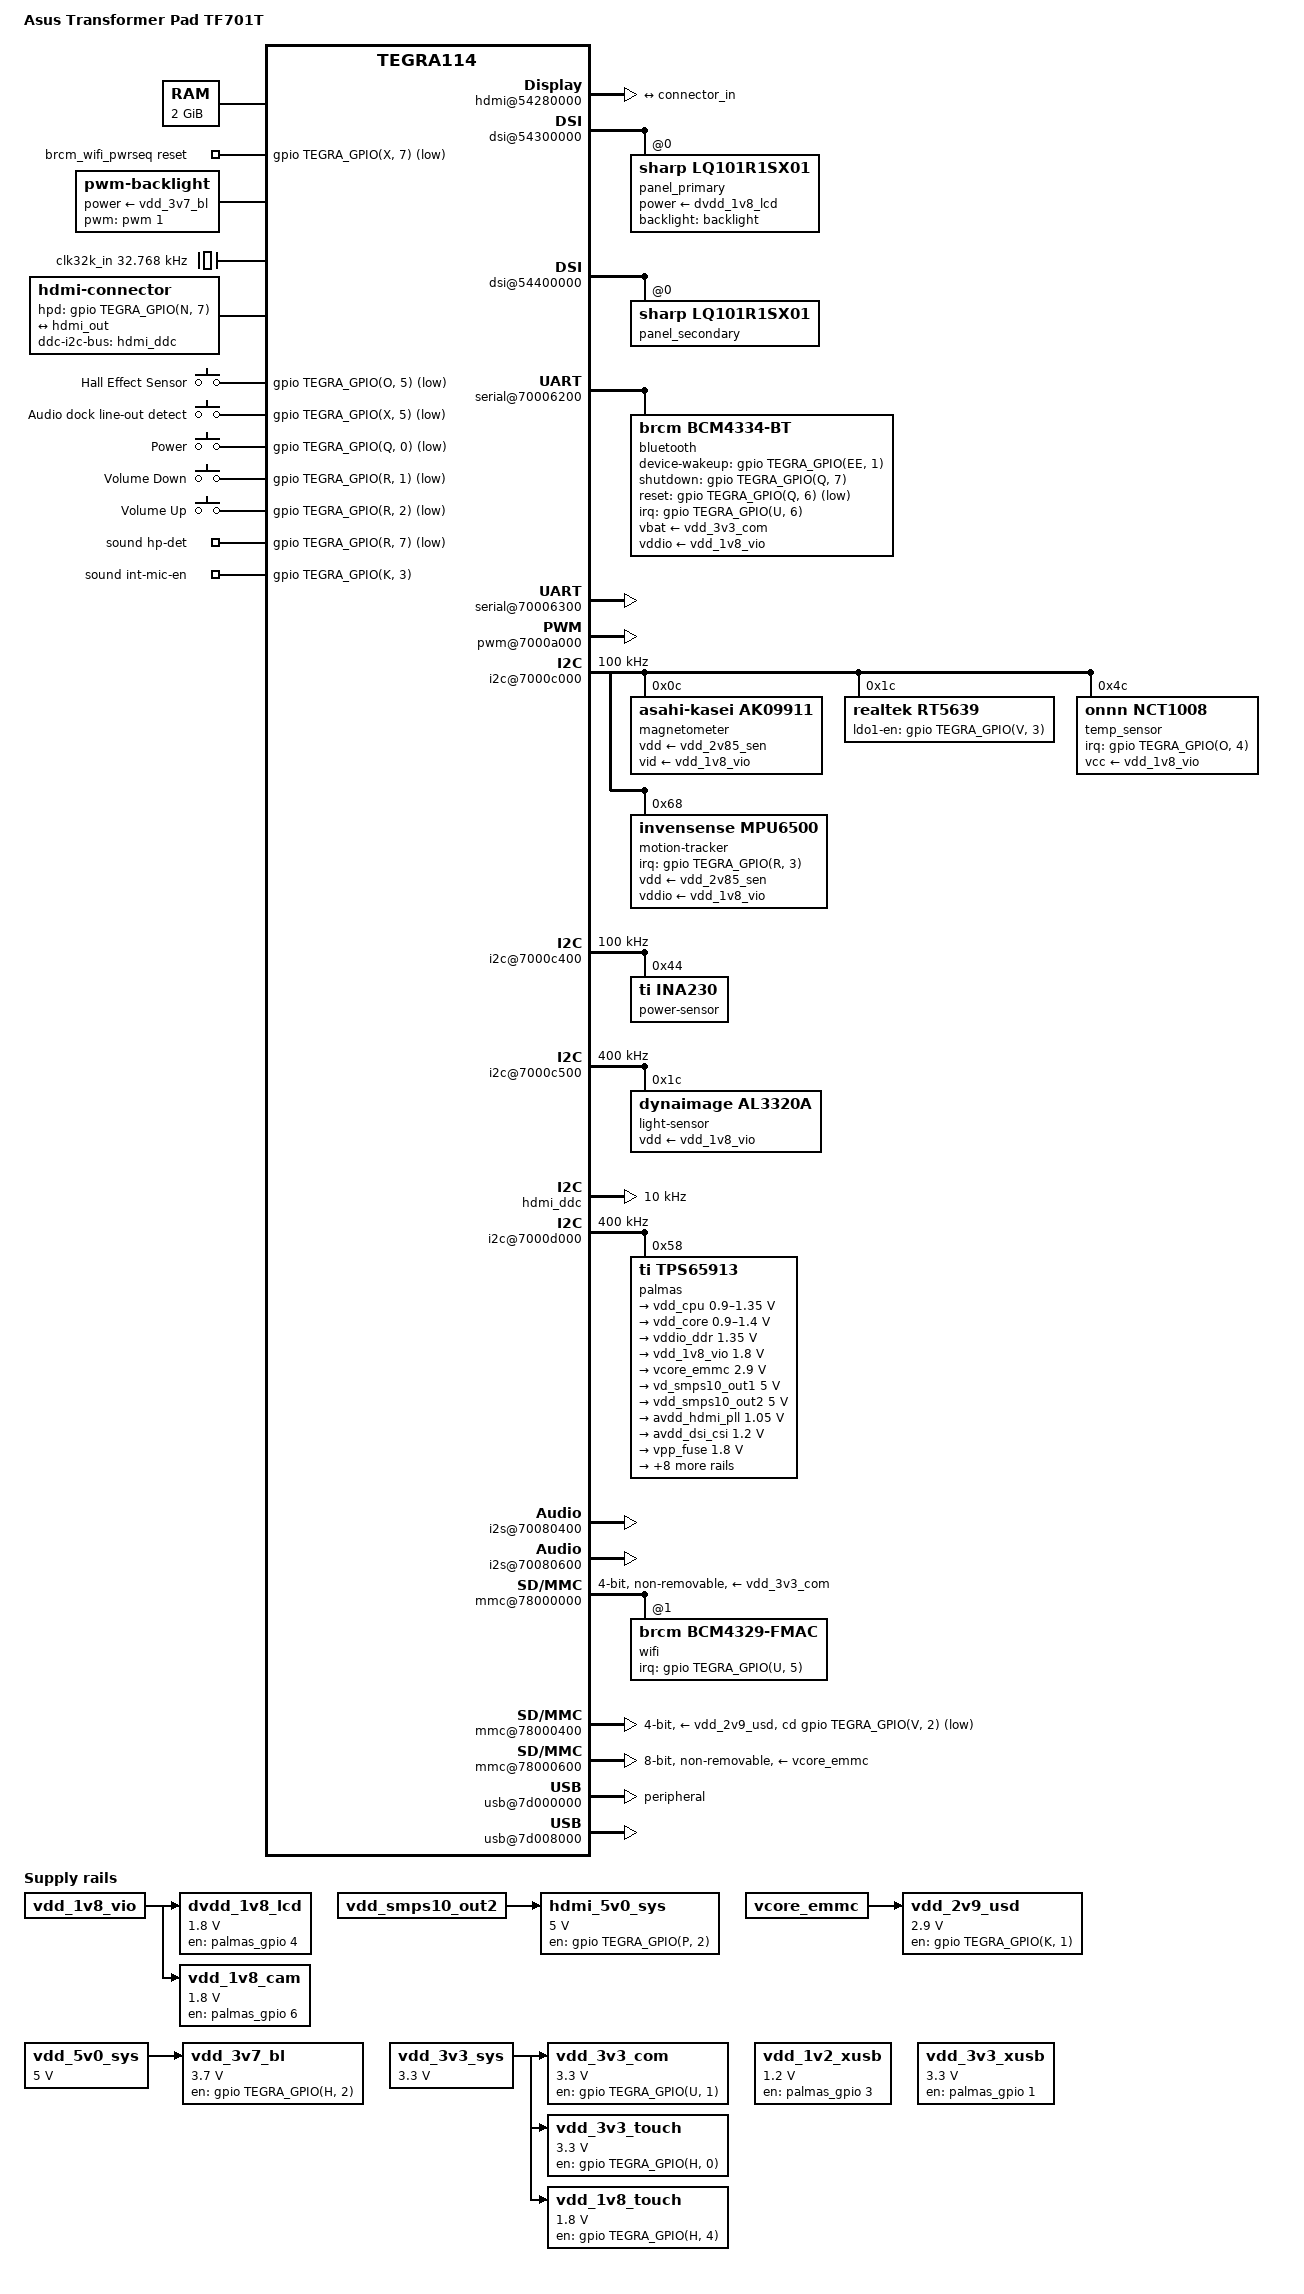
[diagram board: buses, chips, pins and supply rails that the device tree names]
// SPDX-License-Identifier: GPL-2.0

/dts-v1/;

#include <dt-bindings/input/gpio-keys.h>
#include <dt-bindings/input/input.h>

#include "tegra114.dtsi"

/ {
	model = "Asus Transformer Pad TF701T";
	compatible = "asus,tf701t", "nvidia,tegra114";
	chassis-type = "convertible";

	aliases {
		mmc0 = "/mmc@78000600"; /* eMMC */
		mmc1 = "/mmc@78000400"; /* uSD slot */
		mmc2 = "/mmc@78000000"; /* WiFi */

		rtc0 = &palmas;
		rtc1 = "/rtc@7000e000";

		serial0 = &uartd; /* Console */
		serial1 = &uartc; /* Bluetooth */
		serial2 = &uartb; /* GPS */
	};

	firmware {
		trusted-foundations {
			compatible = "tlm,trusted-foundations";
			tlm,version-major = <2>;
			tlm,version-minor = <8>;
		};
	};

	memory@80000000 {
		reg = <0x80000000 0x80000000>;
	};

	reserved-memory {
		#address-cells = <1>;
		#size-cells = <1>;
		ranges;

		linux,cma@80000000 {
			compatible = "shared-dma-pool";
			alloc-ranges = <0x80000000 0x30000000>;
			size = <0x10000000>;
			linux,cma-default;
			reusable;
		};

		trustzone@bfe00000 {
			reg = <0xbfe00000 0x200000>;
			no-map;
		};
	};

	host1x@50000000 {
		hdmi@54280000 {
			status = "okay";

			hdmi-supply = <&hdmi_5v0_sys>;
			pll-supply = <&avdd_hdmi_pll>;
			vdd-supply = <&avdd_hdmi>;

			port {
				hdmi_out: endpoint {
					remote-endpoint = <&connector_in>;
				};
			};
		};

		dsi@54300000 {
			status = "okay";

			avdd-dsi-csi-supply = <&avdd_dsi_csi>;

			nvidia,ganged-mode = <&dsib>;

			panel_primary: panel@0 {
				compatible = "sharp,lq101r1sx01";
				reg = <0>;

				link2 = <&panel_secondary>;

				power-supply = <&dvdd_1v8_lcd>;
				backlight = <&backlight>;
			};
		};

		dsi@54400000 {
			status = "okay";

			avdd-dsi-csi-supply = <&avdd_dsi_csi>;

			panel_secondary: panel@0 {
				compatible = "sharp,lq101r1sx01";
				reg = <0>;
			};
		};
	};

	vde@6001a000 {
		assigned-clocks = <&tegra_car TEGRA114_CLK_VDE>;
		assigned-clock-parents = <&tegra_car TEGRA114_CLK_PLL_P>;
		assigned-clock-rates = <408000000>;
	};

	pinmux@70000868 {
		pinctrl-names = "default";
		pinctrl-0 = <&state_default>;

		state_default: pinmux {
			/* WLAN SDIO pinmux */
			sdmmc1-clk {
				nvidia,pins = "sdmmc1_clk_pz0";
				nvidia,function = "sdmmc1";
				nvidia,pull = <TEGRA_PIN_PULL_NONE>;
				nvidia,tristate = <TEGRA_PIN_DISABLE>;
				nvidia,enable-input = <TEGRA_PIN_ENABLE>;
			};

			sdmmc1-cmd {
				nvidia,pins = "sdmmc1_cmd_pz1",
					      "sdmmc1_dat0_py7",
					      "sdmmc1_dat1_py6",
					      "sdmmc1_dat2_py5",
					      "sdmmc1_dat3_py4";
				nvidia,function = "sdmmc1";
				nvidia,pull = <TEGRA_PIN_PULL_UP>;
				nvidia,tristate = <TEGRA_PIN_DISABLE>;
				nvidia,enable-input = <TEGRA_PIN_ENABLE>;
			};

			wlan-power {
				nvidia,pins = "clk2_req_pcc5";
				nvidia,function = "rsvd2";
				nvidia,pull = <TEGRA_PIN_PULL_NONE>;
				nvidia,tristate = <TEGRA_PIN_DISABLE>;
				nvidia,enable-input = <TEGRA_PIN_DISABLE>;
			};

			wlan-reset {
				nvidia,pins = "gpio_x7_aud_px7";
				nvidia,function = "rsvd1";
				nvidia,pull = <TEGRA_PIN_PULL_NONE>;
				nvidia,tristate = <TEGRA_PIN_DISABLE>;
				nvidia,enable-input = <TEGRA_PIN_DISABLE>;
			};

			wlan-host-wake {
				nvidia,pins = "pu5";
				nvidia,function = "pwm2";
				nvidia,pull = <TEGRA_PIN_PULL_NONE>;
				nvidia,tristate = <TEGRA_PIN_DISABLE>;
				nvidia,enable-input = <TEGRA_PIN_ENABLE>;
			};

			wlan-3v3-com {
				nvidia,pins = "pu1";
				nvidia,function = "rsvd1";
				nvidia,pull = <TEGRA_PIN_PULL_NONE>;
				nvidia,tristate = <TEGRA_PIN_DISABLE>;
				nvidia,enable-input = <TEGRA_PIN_DISABLE>;
			};

			/* UART-A pinmux */
			uarta-cts {
				nvidia,pins = "kb_row10_ps2";
				nvidia,function = "uarta";
				nvidia,pull = <TEGRA_PIN_PULL_DOWN>;
				nvidia,tristate = <TEGRA_PIN_DISABLE>;
				nvidia,enable-input = <TEGRA_PIN_ENABLE>;
			};

			uarta-rts {
				nvidia,pins = "kb_row9_ps1";
				nvidia,function = "uarta";
				nvidia,pull = <TEGRA_PIN_PULL_NONE>;
				nvidia,tristate = <TEGRA_PIN_DISABLE>;
				nvidia,enable-input = <TEGRA_PIN_DISABLE>;
			};

			/* GNSS UART-B pinmux */
			uartb-cts {
				nvidia,pins = "uart2_cts_n_pj5";
				nvidia,function = "uartb";
				nvidia,pull = <TEGRA_PIN_PULL_UP>;
				nvidia,tristate = <TEGRA_PIN_DISABLE>;
				nvidia,enable-input = <TEGRA_PIN_ENABLE>;
			};

			uartb-rts {
				nvidia,pins = "uart2_rts_n_pj6";
				nvidia,function = "uartb";
				nvidia,pull = <TEGRA_PIN_PULL_NONE>;
				nvidia,tristate = <TEGRA_PIN_DISABLE>;
				nvidia,enable-input = <TEGRA_PIN_DISABLE>;
			};

			uartb-rxd {
				nvidia,pins = "uart2_rxd_pc3";
				nvidia,function = "irda";
				nvidia,pull = <TEGRA_PIN_PULL_UP>;
				nvidia,tristate = <TEGRA_PIN_DISABLE>;
				nvidia,enable-input = <TEGRA_PIN_ENABLE>;
			};

			uartb-txd {
				nvidia,pins = "uart2_txd_pc2";
				nvidia,function = "irda";
				nvidia,pull = <TEGRA_PIN_PULL_NONE>;
				nvidia,tristate = <TEGRA_PIN_DISABLE>;
				nvidia,enable-input = <TEGRA_PIN_DISABLE>;
			};

			/* Bluetooth UART-C pinmux */
			uartc-cts-rxd {
				nvidia,pins = "uart3_cts_n_pa1",
					      "uart3_rxd_pw7";
				nvidia,function = "uartc";
				nvidia,pull = <TEGRA_PIN_PULL_UP>;
				nvidia,tristate = <TEGRA_PIN_DISABLE>;
				nvidia,enable-input = <TEGRA_PIN_ENABLE>;
			};

			uartc-rts-txd {
				nvidia,pins = "uart3_rts_n_pc0",
					      "uart3_txd_pw6";
				nvidia,function = "uartc";
				nvidia,pull = <TEGRA_PIN_PULL_NONE>;
				nvidia,tristate = <TEGRA_PIN_DISABLE>;
				nvidia,enable-input = <TEGRA_PIN_DISABLE>;
			};

			bt-shutdown {
				nvidia,pins = "kb_col6_pq6",
					      "kb_col7_pq7";
				nvidia,function = "rsvd2";
				nvidia,pull = <TEGRA_PIN_PULL_NONE>;
				nvidia,tristate = <TEGRA_PIN_DISABLE>;
				nvidia,enable-input = <TEGRA_PIN_DISABLE>;
			};

			bt-dev-wake {
				nvidia,pins = "clk3_req_pee1";
				nvidia,function = "rsvd2";
				nvidia,pull = <TEGRA_PIN_PULL_NONE>;
				nvidia,tristate = <TEGRA_PIN_DISABLE>;
				nvidia,enable-input = <TEGRA_PIN_DISABLE>;
			};

			bt-host-wake {
				nvidia,pins = "pu6";
				nvidia,function = "pwm3";
				nvidia,pull = <TEGRA_PIN_PULL_NONE>;
				nvidia,tristate = <TEGRA_PIN_DISABLE>;
				nvidia,enable-input = <TEGRA_PIN_ENABLE>;
			};

			bt-pcm-dap4-out {
				nvidia,pins = "dap4_fs_pp4",
					      "dap4_dout_pp6",
					      "dap4_sclk_pp7";
				nvidia,function = "i2s3";
				nvidia,pull = <TEGRA_PIN_PULL_NONE>;
				nvidia,tristate = <TEGRA_PIN_DISABLE>;
				nvidia,enable-input = <TEGRA_PIN_DISABLE>;
			};

			bt-pcm-dap4-in {
				nvidia,pins = "dap4_din_pp5";
				nvidia,function = "i2s3";
				nvidia,pull = <TEGRA_PIN_PULL_NONE>;
				nvidia,tristate = <TEGRA_PIN_DISABLE>;
				nvidia,enable-input = <TEGRA_PIN_ENABLE>;
			};

			/* UART-D pinmux */
			uartd-cts {
				nvidia,pins = "gmi_a17_pb0";
				nvidia,function = "uartd";
				nvidia,pull = <TEGRA_PIN_PULL_NONE>;
				nvidia,tristate = <TEGRA_PIN_DISABLE>;
				nvidia,enable-input = <TEGRA_PIN_ENABLE>;
			};

			uartd-rts {
				nvidia,pins = "gmi_a16_pj7",
					      "gmi_a19_pk7";
				nvidia,function = "uartd";
				nvidia,pull = <TEGRA_PIN_PULL_NONE>;
				nvidia,tristate = <TEGRA_PIN_DISABLE>;
				nvidia,enable-input = <TEGRA_PIN_DISABLE>;
			};

			/* MicroSD pinmux */
			sdmmc3-clk {
				nvidia,pins = "sdmmc3_clk_pa6";
				nvidia,function = "sdmmc3";
				nvidia,pull = <TEGRA_PIN_PULL_NONE>;
				nvidia,tristate = <TEGRA_PIN_DISABLE>;
				nvidia,enable-input = <TEGRA_PIN_ENABLE>;
			};

			sdmmc3-data {
				nvidia,pins = "sdmmc3_cmd_pa7",
					      "sdmmc3_dat0_pb7",
					      "sdmmc3_dat1_pb6",
					      "sdmmc3_dat2_pb5",
					      "sdmmc3_dat3_pb4",
					      "kb_col4_pq4",
					      "sdmmc3_cd_n_pv2",
					      "sdmmc3_clk_lb_out_pee4",
					      "sdmmc3_clk_lb_in_pee5";
				nvidia,function = "sdmmc3";
				nvidia,pull = <TEGRA_PIN_PULL_UP>;
				nvidia,tristate = <TEGRA_PIN_DISABLE>;
				nvidia,enable-input = <TEGRA_PIN_ENABLE>;
			};

			microsd-pwr {
				nvidia,pins = "gmi_clk_pk1";
				nvidia,function = "gmi";
				nvidia,pull = <TEGRA_PIN_PULL_NONE>;
				nvidia,tristate = <TEGRA_PIN_DISABLE>;
				nvidia,enable-input = <TEGRA_PIN_DISABLE>;
			};

			/* EMMC pinmux */
			sdmmc4-clk-cmd {
				nvidia,pins = "sdmmc4_clk_pcc4";
				nvidia,function = "sdmmc4";
				nvidia,pull = <TEGRA_PIN_PULL_NONE>;
				nvidia,tristate = <TEGRA_PIN_DISABLE>;
				nvidia,enable-input = <TEGRA_PIN_ENABLE>;
			};

			sdmmc4-data {
				nvidia,pins = "sdmmc4_cmd_pt7",
					      "sdmmc4_dat0_paa0",
					      "sdmmc4_dat1_paa1",
					      "sdmmc4_dat2_paa2",
					      "sdmmc4_dat3_paa3",
					      "sdmmc4_dat4_paa4",
					      "sdmmc4_dat5_paa5",
					      "sdmmc4_dat6_paa6",
					      "sdmmc4_dat7_paa7";
				nvidia,function = "sdmmc4";
				nvidia,pull = <TEGRA_PIN_PULL_UP>;
				nvidia,tristate = <TEGRA_PIN_DISABLE>;
				nvidia,enable-input = <TEGRA_PIN_ENABLE>;
			};

			/* I2C pinmux */
			gen1-i2c {
				nvidia,pins = "gen1_i2c_scl_pc4",
					      "gen1_i2c_sda_pc5";
				nvidia,function = "i2c1";
				nvidia,pull = <TEGRA_PIN_PULL_NONE>;
				nvidia,tristate = <TEGRA_PIN_DISABLE>;
				nvidia,enable-input = <TEGRA_PIN_ENABLE>;
				nvidia,open-drain = <TEGRA_PIN_ENABLE>;
				nvidia,lock = <TEGRA_PIN_DISABLE>;
			};

			gen2-i2c {
				nvidia,pins = "gen2_i2c_scl_pt5",
					      "gen2_i2c_sda_pt6";
				nvidia,function = "i2c2";
				nvidia,pull = <TEGRA_PIN_PULL_NONE>;
				nvidia,tristate = <TEGRA_PIN_DISABLE>;
				nvidia,enable-input = <TEGRA_PIN_ENABLE>;
				nvidia,open-drain = <TEGRA_PIN_ENABLE>;
				nvidia,lock = <TEGRA_PIN_DISABLE>;
			};

			cam-i2c {
				nvidia,pins = "cam_i2c_scl_pbb1",
					      "cam_i2c_sda_pbb2";
				nvidia,function = "i2c3";
				nvidia,pull = <TEGRA_PIN_PULL_NONE>;
				nvidia,tristate = <TEGRA_PIN_DISABLE>;
				nvidia,enable-input = <TEGRA_PIN_ENABLE>;
				nvidia,open-drain = <TEGRA_PIN_ENABLE>;
				nvidia,lock = <TEGRA_PIN_DISABLE>;
			};
			
			ddc-i2c {
				nvidia,pins = "ddc_scl_pv4",
					      "ddc_sda_pv5";
				nvidia,function = "i2c4";
				nvidia,pull = <TEGRA_PIN_PULL_NONE>;
				nvidia,tristate = <TEGRA_PIN_DISABLE>;
				nvidia,enable-input = <TEGRA_PIN_ENABLE>;
				nvidia,lock = <TEGRA_PIN_DISABLE>;
			};

			pwr-i2c {
				nvidia,pins = "pwr_i2c_scl_pz6",
					      "pwr_i2c_sda_pz7";
				nvidia,function = "i2cpwr";
				nvidia,pull = <TEGRA_PIN_PULL_NONE>;
				nvidia,tristate = <TEGRA_PIN_DISABLE>;
				nvidia,enable-input = <TEGRA_PIN_ENABLE>;
				nvidia,open-drain = <TEGRA_PIN_ENABLE>;
				nvidia,lock = <TEGRA_PIN_DISABLE>;
			};

			/* SPI pinmux */
			spi1-out {
				nvidia,pins = "ulpi_clk_py0",
					      "ulpi_nxt_py2",
					      "ulpi_stp_py3";
				nvidia,function = "spi1";
				nvidia,pull = <TEGRA_PIN_PULL_NONE>;
				nvidia,tristate = <TEGRA_PIN_DISABLE>;
				nvidia,enable-input = <TEGRA_PIN_DISABLE>;
			};

			spi1-in {
				nvidia,pins = "ulpi_dir_py1";
				nvidia,function = "spi1";
				nvidia,pull = <TEGRA_PIN_PULL_NONE>;
				nvidia,tristate = <TEGRA_PIN_DISABLE>;
				nvidia,enable-input = <TEGRA_PIN_ENABLE>;
			};

			spi2 {
				nvidia,pins = "ulpi_data4_po5",
					      "ulpi_data7_po0";
				nvidia,function = "spi2";
				nvidia,pull = <TEGRA_PIN_PULL_UP>;
				nvidia,tristate = <TEGRA_PIN_DISABLE>;
				nvidia,enable-input = <TEGRA_PIN_ENABLE>;
			};

			spi4-out {
				nvidia,pins = "gmi_ad6_pg6",
					      "gmi_wr_n_pi0";
				nvidia,function = "spi4";
				nvidia,pull = <TEGRA_PIN_PULL_NONE>;
				nvidia,tristate = <TEGRA_PIN_DISABLE>;
				nvidia,enable-input = <TEGRA_PIN_DISABLE>;
			};

			spi4-in {
				nvidia,pins = "gmi_ad5_pg5",
					      "gmi_ad7_pg7";
				nvidia,function = "spi4";
				nvidia,pull = <TEGRA_PIN_PULL_NONE>;
				nvidia,tristate = <TEGRA_PIN_DISABLE>;
				nvidia,enable-input = <TEGRA_PIN_ENABLE>;
			};

			/* GPIO keys pinmux */
			hall-switch {
				nvidia,pins = "ulpi_data4_po5";
				nvidia,function = "spi2";
				nvidia,pull = <TEGRA_PIN_PULL_UP>;
				nvidia,tristate = <TEGRA_PIN_DISABLE>;
				nvidia,enable-input = <TEGRA_PIN_ENABLE>;
			};

			lineout-switch {
				nvidia,pins = "gpio_x5_aud_px5";
				nvidia,function = "rsvd1";
				nvidia,pull = <TEGRA_PIN_PULL_UP>;
				nvidia,tristate = <TEGRA_PIN_DISABLE>;
				nvidia,enable-input = <TEGRA_PIN_ENABLE>;
			};

			power-key {
				nvidia,pins = "kb_col0_pq0";
				nvidia,function = "kbc";
				nvidia,pull = <TEGRA_PIN_PULL_UP>;
				nvidia,tristate = <TEGRA_PIN_ENABLE>;
				nvidia,enable-input = <TEGRA_PIN_ENABLE>;
			};

			volume-keys {
				nvidia,pins = "kb_row1_pr1",
					      "kb_row2_pr2";
				nvidia,function = "rsvd2";
				nvidia,pull = <TEGRA_PIN_PULL_UP>;
				nvidia,tristate = <TEGRA_PIN_ENABLE>;
				nvidia,enable-input = <TEGRA_PIN_ENABLE>;
			};

			/* Sensors pinmux */
			nct-irq {
				nvidia,pins = "ulpi_data3_po4";
				nvidia,function = "ulpi";
				nvidia,pull = <TEGRA_PIN_PULL_UP>;
				nvidia,tristate = <TEGRA_PIN_DISABLE>;
				nvidia,enable-input = <TEGRA_PIN_ENABLE>;
			};

			mpu-irq {
				nvidia,pins = "kb_row3_pr3";
				nvidia,function = "rsvd3";
				nvidia,pull = <TEGRA_PIN_PULL_DOWN>;
				nvidia,tristate = <TEGRA_PIN_DISABLE>;
				nvidia,enable-input = <TEGRA_PIN_ENABLE>;
			};

			/* HDMI pinmux */
			hdmi-hpd {
				nvidia,pins = "hdmi_int_pn7";
				nvidia,function = "rsvd1";
				nvidia,pull = <TEGRA_PIN_PULL_DOWN>;
				nvidia,tristate = <TEGRA_PIN_DISABLE>;
				nvidia,enable-input = <TEGRA_PIN_ENABLE>;
			};

			hdmi-en {
				nvidia,pins = "dap3_dout_pp2";
				nvidia,function = "i2s2";
				nvidia,pull = <TEGRA_PIN_PULL_NONE>;
				nvidia,tristate = <TEGRA_PIN_DISABLE>;
				nvidia,enable-input = <TEGRA_PIN_DISABLE>;
			};

			hdmi-cec {
				nvidia,pins = "hdmi_cec_pee3";
				nvidia,function = "cec";
				nvidia,pull = <TEGRA_PIN_PULL_NONE>;
				nvidia,tristate = <TEGRA_PIN_DISABLE>;
				nvidia,enable-input = <TEGRA_PIN_ENABLE>;
			};

			/* LED pinmux */
			backlight-pwm {
				nvidia,pins = "gmi_ad9_ph1";
				nvidia,function = "pwm1";
				nvidia,pull = <TEGRA_PIN_PULL_NONE>;
				nvidia,tristate = <TEGRA_PIN_DISABLE>;
				nvidia,enable-input = <TEGRA_PIN_DISABLE>;
			};

			backlight-en {
				nvidia,pins = "gmi_ad10_ph2";
				nvidia,function = "gmi";
				nvidia,pull = <TEGRA_PIN_PULL_NONE>;
				nvidia,tristate = <TEGRA_PIN_DISABLE>;
				nvidia,enable-input = <TEGRA_PIN_DISABLE>;
			};

			/* Touchscreen pinmux */
			touch-irq {
				nvidia,pins = "gmi_cs4_n_pk2";
				nvidia,function = "gmi";
				nvidia,pull = <TEGRA_PIN_PULL_NONE>;
				nvidia,tristate = <TEGRA_PIN_DISABLE>;
				nvidia,enable-input = <TEGRA_PIN_ENABLE>;
			};

			touch-rst {
				nvidia,pins = "gmi_cs3_n_pk4";
				nvidia,function = "gmi";
				nvidia,pull = <TEGRA_PIN_PULL_NONE>;
				nvidia,tristate = <TEGRA_PIN_DISABLE>;
				nvidia,enable-input = <TEGRA_PIN_DISABLE>;
			};

			touch-pwr {
				nvidia,pins = "gmi_ad8_ph0";
				nvidia,function = "gmi";
				nvidia,pull = <TEGRA_PIN_PULL_NONE>;
				nvidia,tristate = <TEGRA_PIN_DISABLE>;
				nvidia,enable-input = <TEGRA_PIN_DISABLE>;
			};

			touch-vio {
				nvidia,pins = "gmi_ad12_ph4";
				nvidia,function = "rsvd4";
				nvidia,pull = <TEGRA_PIN_PULL_NONE>;
				nvidia,tristate = <TEGRA_PIN_DISABLE>;
				nvidia,enable-input = <TEGRA_PIN_DISABLE>;
			};

			/* AUDIO pinmux */
			audio-ldo1 {
				nvidia,pins = "sdmmc1_wp_n_pv3";
				nvidia,function = "sdmmc1";
				nvidia,pull = <TEGRA_PIN_PULL_NONE>;
				nvidia,tristate = <TEGRA_PIN_DISABLE>;
				nvidia,enable-input = <TEGRA_PIN_DISABLE>;
			};

			hp-detect {
				nvidia,pins = "kb_row7_pr7";
				nvidia,function = "rsvd2";
				nvidia,pull = <TEGRA_PIN_PULL_UP>;
				nvidia,tristate = <TEGRA_PIN_DISABLE>;
				nvidia,enable-input = <TEGRA_PIN_ENABLE>;
			};

			dap-i2s0-in {
				nvidia,pins = "dap1_din_pn1";
				nvidia,function = "i2s0";
				nvidia,pull = <TEGRA_PIN_PULL_NONE>;
				nvidia,tristate = <TEGRA_PIN_DISABLE>;
				nvidia,enable-input = <TEGRA_PIN_ENABLE>;
			};

			dap-i2s0-out {
				nvidia,pins = "dap1_dout_pn2",
					      "dap1_fs_pn0",
					      "dap1_sclk_pn3";
				nvidia,function = "i2s0";
				nvidia,pull = <TEGRA_PIN_PULL_NONE>;
				nvidia,tristate = <TEGRA_PIN_DISABLE>;
				nvidia,enable-input = <TEGRA_PIN_DISABLE>;
			};

			dap-i2s1-in {
				nvidia,pins = "dap2_din_pa4";
				nvidia,function = "i2s1";
				nvidia,pull = <TEGRA_PIN_PULL_NONE>;
				nvidia,tristate = <TEGRA_PIN_DISABLE>;
				nvidia,enable-input = <TEGRA_PIN_ENABLE>;
			};

			dap-i2s1-out {
				nvidia,pins = "dap2_dout_pa5",
					      "dap2_fs_pa2",
					      "dap2_sclk_pa3";
				nvidia,function = "i2s1";
				nvidia,pull = <TEGRA_PIN_PULL_NONE>;
				nvidia,tristate = <TEGRA_PIN_DISABLE>;
				nvidia,enable-input = <TEGRA_PIN_DISABLE>;
			};

			dap-i2s2-in {
				nvidia,pins = "dap3_fs_pp0",
					      "dap3_sclk_pp3";
				nvidia,function = "i2s2";
				nvidia,pull = <TEGRA_PIN_PULL_NONE>;
				nvidia,tristate = <TEGRA_PIN_ENABLE>;
				nvidia,enable-input = <TEGRA_PIN_ENABLE>;
			};

			dap-i2s2-out {
				nvidia,pins = "dap3_din_pp1";
				nvidia,function = "i2s2";
				nvidia,pull = <TEGRA_PIN_PULL_NONE>;
				nvidia,tristate = <TEGRA_PIN_DISABLE>;
				nvidia,enable-input = <TEGRA_PIN_DISABLE>;
			};

			spdif-in {
				nvidia,pins = "spdif_in_pk6";
				nvidia,function = "rsvd3";
				nvidia,pull = <TEGRA_PIN_PULL_UP>;
				nvidia,tristate = <TEGRA_PIN_DISABLE>;
				nvidia,enable-input = <TEGRA_PIN_DISABLE>;
			};

			spdif-out {
				nvidia,pins = "spdif_out_pk5";
				nvidia,function = "rsvd2";
				nvidia,pull = <TEGRA_PIN_PULL_DOWN>;
				nvidia,tristate = <TEGRA_PIN_ENABLE>;
				nvidia,enable-input = <TEGRA_PIN_DISABLE>;
			};

			/* AsusEC pinmux */
			ec-irq {
				nvidia,pins = "kb_col5_pq5";
				nvidia,function = "kbc";
				nvidia,pull = <TEGRA_PIN_PULL_UP>;
				nvidia,tristate = <TEGRA_PIN_DISABLE>;
				nvidia,enable-input = <TEGRA_PIN_ENABLE>;
			};

			ec-req {
				nvidia,pins = "kb_col2_pq2";
				nvidia,function = "kbc";
				nvidia,pull = <TEGRA_PIN_PULL_UP>;
				nvidia,tristate = <TEGRA_PIN_DISABLE>;
				nvidia,enable-input = <TEGRA_PIN_DISABLE>;
			};

			hotplug-i2c {
				nvidia,pins = "ulpi_data7_po0";
				nvidia,function = "spi2";
				nvidia,pull = <TEGRA_PIN_PULL_UP>;
				nvidia,tristate = <TEGRA_PIN_DISABLE>;
				nvidia,enable-input = <TEGRA_PIN_ENABLE>;
			};

			ps2-irq {
				nvidia,pins = "gpio_w2_aud_pw2";
				nvidia,function = "spi6";
				nvidia,pull = <TEGRA_PIN_PULL_UP>;
				nvidia,tristate = <TEGRA_PIN_DISABLE>;
				nvidia,enable-input = <TEGRA_PIN_ENABLE>;
			};

			kbd-irq {
				nvidia,pins = "gmi_cs0_n_pj0";
				nvidia,function = "rsvd1";
				nvidia,pull = <TEGRA_PIN_PULL_UP>;
				nvidia,tristate = <TEGRA_PIN_DISABLE>;
				nvidia,enable-input = <TEGRA_PIN_ENABLE>;
			};

			dvfs-pin {
				nvidia,pins = "dvfs_pwm_px0",
					      "dvfs_clk_px2";
				nvidia,function = "cldvfs";
				nvidia,pull = <TEGRA_PIN_PULL_NONE>;
				nvidia,tristate = <TEGRA_PIN_DISABLE>;
				nvidia,enable-input = <TEGRA_PIN_DISABLE>;
			};

			/* Core pinmux */
			clk-32k-out {
				nvidia,pins = "clk_32k_out_pa0";
				nvidia,function = "soc";
				nvidia,pull = <TEGRA_PIN_PULL_UP>;
				nvidia,tristate = <TEGRA_PIN_DISABLE>;
				nvidia,enable-input = <TEGRA_PIN_ENABLE>;
			};

			sys-clk-req {
				nvidia,pins = "sys_clk_req_pz5";
				nvidia,function = "sysclk";
				nvidia,pull = <TEGRA_PIN_PULL_NONE>;
				nvidia,tristate = <TEGRA_PIN_DISABLE>;
				nvidia,enable-input = <TEGRA_PIN_DISABLE>;
			};

			core-pwr-req {
				nvidia,pins = "core_pwr_req";
				nvidia,function = "pwron";
				nvidia,pull = <TEGRA_PIN_PULL_NONE>;
				nvidia,tristate = <TEGRA_PIN_DISABLE>;
				nvidia,enable-input = <TEGRA_PIN_DISABLE>;
			};

			cpu-pwr-req {
				nvidia,pins = "cpu_pwr_req";
				nvidia,function = "cpu";
				nvidia,pull = <TEGRA_PIN_PULL_NONE>;
				nvidia,tristate = <TEGRA_PIN_DISABLE>;
				nvidia,enable-input = <TEGRA_PIN_DISABLE>;
			};

			pwr-int-n {
				nvidia,pins = "pwr_int_n";
				nvidia,function = "pmi";
				nvidia,pull = <TEGRA_PIN_PULL_UP>;
				nvidia,tristate = <TEGRA_PIN_DISABLE>;
				nvidia,enable-input = <TEGRA_PIN_ENABLE>;
			};

			clk-32k-in {
				nvidia,pins = "clk_32k_in";
				nvidia,function = "clk";
				nvidia,pull = <TEGRA_PIN_PULL_NONE>;
				nvidia,tristate = <TEGRA_PIN_DISABLE>;
				nvidia,enable-input = <TEGRA_PIN_ENABLE>;
			};

			owr {
				nvidia,pins = "owr";
				nvidia,function = "rsvd2";
				nvidia,pull = <TEGRA_PIN_PULL_DOWN>;
				nvidia,tristate = <TEGRA_PIN_ENABLE>;
				nvidia,enable-input = <TEGRA_PIN_DISABLE>;
			};

			reset-out-n {
				nvidia,pins = "reset_out_n";
				nvidia,function = "reset_out_n";
				nvidia,pull = <TEGRA_PIN_PULL_NONE>;
				nvidia,tristate = <TEGRA_PIN_DISABLE>;
				nvidia,enable-input = <TEGRA_PIN_DISABLE>;
			};

			/* ULPI pinmux */
			ulpi-data0-6 {
				nvidia,pins = "ulpi_data0_po1",
					      "ulpi_data6_po7";
				nvidia,function = "ulpi";
				nvidia,pull = <TEGRA_PIN_PULL_NONE>;
				nvidia,tristate = <TEGRA_PIN_DISABLE>;
				nvidia,enable-input = <TEGRA_PIN_ENABLE>;
			};

			ulpi-data1-5 {
				nvidia,pins = "ulpi_data1_po2",
					      "ulpi_data5_po6";
				nvidia,function = "ulpi";
				nvidia,pull = <TEGRA_PIN_PULL_NONE>;
				nvidia,tristate = <TEGRA_PIN_ENABLE>;
				nvidia,enable-input = <TEGRA_PIN_ENABLE>;
			};

			ulpi-data2-3 {
				nvidia,pins = "ulpi_data2_po3",
					      "ulpi_data3_po4";
				nvidia,function = "ulpi";
				nvidia,pull = <TEGRA_PIN_PULL_UP>;
				nvidia,tristate = <TEGRA_PIN_DISABLE>;
				nvidia,enable-input = <TEGRA_PIN_ENABLE>;
			};

			/* PORT V */
			pv0-gpio {
				nvidia,pins = "pv0";
				nvidia,function = "rsvd2";
				nvidia,pull = <TEGRA_PIN_PULL_UP>;
				nvidia,tristate = <TEGRA_PIN_DISABLE>;
				nvidia,enable-input = <TEGRA_PIN_ENABLE>;
			};

			pv1-gpio {
				nvidia,pins = "pv1";
				nvidia,function = "rsvd1";
				nvidia,pull = <TEGRA_PIN_PULL_UP>;
				nvidia,tristate = <TEGRA_PIN_DISABLE>;
				nvidia,enable-input = <TEGRA_PIN_ENABLE>;
			};

			/* PORT U */
			pu0-gpio {
				nvidia,pins = "pu0";
				nvidia,function = "rsvd3";
				nvidia,pull = <TEGRA_PIN_PULL_NONE>;
				nvidia,tristate = <TEGRA_PIN_DISABLE>;
				nvidia,enable-input = <TEGRA_PIN_DISABLE>;
			};

			pu2-gpio {
				nvidia,pins = "pu2";
				nvidia,function = "rsvd1";
				nvidia,pull = <TEGRA_PIN_PULL_UP>;
				nvidia,tristate = <TEGRA_PIN_DISABLE>;
				nvidia,enable-input = <TEGRA_PIN_ENABLE>;
			};

			/* PWM pinmux */
			pwm0 {
				nvidia,pins = "pu3";
				nvidia,function = "pwm0";
				nvidia,pull = <TEGRA_PIN_PULL_NONE>;
				nvidia,tristate = <TEGRA_PIN_DISABLE>;
				nvidia,enable-input = <TEGRA_PIN_DISABLE>;
			};

			pwm1 {
				nvidia,pins = "pu4";
				nvidia,function = "pwm1";
				nvidia,pull = <TEGRA_PIN_PULL_NONE>;
				nvidia,tristate = <TEGRA_PIN_DISABLE>;
				nvidia,enable-input = <TEGRA_PIN_DISABLE>;
			};

			/* EXTPERIPH pinmux */
			clk1-out {
				nvidia,pins = "clk1_out_pw4";
				nvidia,function = "extperiph1";
				nvidia,pull = <TEGRA_PIN_PULL_NONE>;
				nvidia,tristate = <TEGRA_PIN_DISABLE>;
				nvidia,enable-input = <TEGRA_PIN_DISABLE>;
			};

			clk2-out {
				nvidia,pins = "clk2_out_pw5";
				nvidia,function = "extperiph2";
				nvidia,pull = <TEGRA_PIN_PULL_NONE>;
				nvidia,tristate = <TEGRA_PIN_DISABLE>;
				nvidia,enable-input = <TEGRA_PIN_DISABLE>;
			};

			clk3-out {
				nvidia,pins = "clk3_out_pee0";
				nvidia,function = "extperiph3";
				nvidia,pull = <TEGRA_PIN_PULL_NONE>;
				nvidia,tristate = <TEGRA_PIN_DISABLE>;
				nvidia,enable-input = <TEGRA_PIN_DISABLE>;
			};

			clk1-req {
				nvidia,pins = "clk1_req_pee2";
				nvidia,function = "rsvd3";
				nvidia,pull = <TEGRA_PIN_PULL_DOWN>;
				nvidia,tristate = <TEGRA_PIN_ENABLE>;
				nvidia,enable-input = <TEGRA_PIN_DISABLE>;
			};

			/* GMI pinmux */
			gmi-wp-n {
				nvidia,pins = "gmi_wp_n_pc7";
				nvidia,function = "rsvd1";
				nvidia,pull = <TEGRA_PIN_PULL_NONE>;
				nvidia,tristate = <TEGRA_PIN_ENABLE>;
				nvidia,enable-input = <TEGRA_PIN_ENABLE>;
			};

			gmi-adv {
				nvidia,pins = "gmi_adv_n_pk0";
				nvidia,function = "rsvd1";
				nvidia,pull = <TEGRA_PIN_PULL_UP>;
				nvidia,tristate = <TEGRA_PIN_DISABLE>;
				nvidia,enable-input = <TEGRA_PIN_ENABLE>;
			};

			gmi-ad0-ad1 {
				nvidia,pins = "gmi_ad0_pg0",
					      "gmi_ad1_pg1";
				nvidia,function = "rsvd1";
				nvidia,pull = <TEGRA_PIN_PULL_NONE>;
				nvidia,tristate = <TEGRA_PIN_DISABLE>;
				nvidia,enable-input = <TEGRA_PIN_DISABLE>;
			};

			gmi-ad2-ad3 {
				nvidia,pins = "gmi_ad2_pg2",
					      "gmi_ad3_pg3";
				nvidia,function = "rsvd1";
				nvidia,pull = <TEGRA_PIN_PULL_NONE>;
				nvidia,tristate = <TEGRA_PIN_DISABLE>;
				nvidia,enable-input = <TEGRA_PIN_ENABLE>;
			};

			gmi-iordy {
				nvidia,pins = "gmi_iordy_pi5";
				nvidia,function = "rsvd2";
				nvidia,pull = <TEGRA_PIN_PULL_UP>;
				nvidia,tristate = <TEGRA_PIN_DISABLE>;
				nvidia,enable-input = <TEGRA_PIN_ENABLE>;
			};

			gmi-a18 {
				nvidia,pins = "gmi_a18_pb1";
				nvidia,function = "rsvd2";
				nvidia,pull = <TEGRA_PIN_PULL_NONE>;
				nvidia,tristate = <TEGRA_PIN_ENABLE>;
				nvidia,enable-input = <TEGRA_PIN_ENABLE>;
			};

			gmi-wait {
				nvidia,pins = "gmi_wait_pi7";
				nvidia,function = "nand";
				nvidia,pull = <TEGRA_PIN_PULL_NONE>;
				nvidia,tristate = <TEGRA_PIN_DISABLE>;
				nvidia,enable-input = <TEGRA_PIN_DISABLE>;
			};

			gmi-cs6-n {
				nvidia,pins = "gmi_cs6_n_pi3";
				nvidia,function = "nand";
				nvidia,pull = <TEGRA_PIN_PULL_DOWN>;
				nvidia,tristate = <TEGRA_PIN_ENABLE>;
				nvidia,enable-input = <TEGRA_PIN_DISABLE>;
			};

			gmi-cs7-n {
				nvidia,pins = "gmi_cs7_n_pi6";
				nvidia,function = "nand";
				nvidia,pull = <TEGRA_PIN_PULL_NONE>;
				nvidia,tristate = <TEGRA_PIN_DISABLE>;
				nvidia,enable-input = <TEGRA_PIN_ENABLE>;
			};

			gmi-dqs-p {
				nvidia,pins = "gmi_dqs_p_pj3";
				nvidia,function = "nand";
				nvidia,pull = <TEGRA_PIN_PULL_NONE>;
				nvidia,tristate = <TEGRA_PIN_ENABLE>;
				nvidia,enable-input = <TEGRA_PIN_ENABLE>;
			};

			gmi-cs2-ad {
				nvidia,pins = "gmi_cs2_n_pk3",
					      "gmi_ad14_ph6",
					      "gmi_ad15_ph7";
				nvidia,function = "gmi";
				nvidia,pull = <TEGRA_PIN_PULL_NONE>;
				nvidia,tristate = <TEGRA_PIN_ENABLE>;
				nvidia,enable-input = <TEGRA_PIN_ENABLE>;
			};

			gmi-cs4-clk {
				nvidia,pins = "gmi_cs4_n_pk2",
					      "gmi_clk_lb";
				nvidia,function = "gmi";
				nvidia,pull = <TEGRA_PIN_PULL_NONE>;
				nvidia,tristate = <TEGRA_PIN_DISABLE>;
				nvidia,enable-input = <TEGRA_PIN_ENABLE>;
			};

			gmi-ad11 {
				nvidia,pins = "gmi_ad11_ph3";
				nvidia,function = "gmi";
				nvidia,pull = <TEGRA_PIN_PULL_NONE>;
				nvidia,tristate = <TEGRA_PIN_DISABLE>;
				nvidia,enable-input = <TEGRA_PIN_DISABLE>;
			};

			gmi-cs1-oe {
				nvidia,pins = "gmi_cs1_n_pj2",
					      "gmi_oe_n_pi1";
				nvidia,function = "soc";
				nvidia,pull = <TEGRA_PIN_PULL_UP>;
				nvidia,tristate = <TEGRA_PIN_DISABLE>;
				nvidia,enable-input = <TEGRA_PIN_ENABLE>;
			};

			gmi-ad4 {
				nvidia,pins = "gmi_ad4_pg4";
				nvidia,function = "rsvd4";
				nvidia,pull = <TEGRA_PIN_PULL_NONE>;
				nvidia,tristate = <TEGRA_PIN_DISABLE>;
				nvidia,enable-input = <TEGRA_PIN_ENABLE>;
			};

			gmi-ad13 {
				nvidia,pins = "gmi_ad13_ph5";
				nvidia,function = "rsvd4";
				nvidia,pull = <TEGRA_PIN_PULL_NONE>;
				nvidia,tristate = <TEGRA_PIN_ENABLE>;
				nvidia,enable-input = <TEGRA_PIN_ENABLE>;
			};

			gmi-rst-n {
				nvidia,pins = "gmi_rst_n_pi4";
				nvidia,function = "rsvd4";
				nvidia,pull = <TEGRA_PIN_PULL_NONE>;
				nvidia,tristate = <TEGRA_PIN_DISABLE>;
				nvidia,enable-input = <TEGRA_PIN_DISABLE>;
			};

			/* PORT CC */
			pcc-gpio {
				nvidia,pins = "pcc1", "pcc2";
				nvidia,function = "rsvd2";
				nvidia,pull = <TEGRA_PIN_PULL_DOWN>;
				nvidia,tristate = <TEGRA_PIN_DISABLE>;
				nvidia,enable-input = <TEGRA_PIN_ENABLE>;
			};

			/* PORT BB */
			pbb3-gpio {
				nvidia,pins = "pbb3";
				nvidia,function = "rsvd4";
				nvidia,pull = <TEGRA_PIN_PULL_NONE>;
				nvidia,tristate = <TEGRA_PIN_DISABLE>;
				nvidia,enable-input = <TEGRA_PIN_ENABLE>;
			};

			pbb4-5-6-gpio {
				nvidia,pins = "pbb4", "pbb5", "pbb6";
				nvidia,function = "rsvd4";
				nvidia,pull = <TEGRA_PIN_PULL_NONE>;
				nvidia,tristate = <TEGRA_PIN_DISABLE>;
				nvidia,enable-input = <TEGRA_PIN_DISABLE>;
			};

			pbb7-gpio {
				nvidia,pins = "pbb7";
				nvidia,function = "rsvd2";
				nvidia,pull = <TEGRA_PIN_PULL_NONE>;
				nvidia,tristate = <TEGRA_PIN_DISABLE>;
				nvidia,enable-input = <TEGRA_PIN_DISABLE>;
			};

			/* KBC pinmux */
			kb-r0-c1 {
				nvidia,pins = "kb_row0_pr0",
					      "kb_col1_pq1";
				nvidia,function = "rsvd2";
				nvidia,pull = <TEGRA_PIN_PULL_UP>;
				nvidia,tristate = <TEGRA_PIN_DISABLE>;
				nvidia,enable-input = <TEGRA_PIN_ENABLE>;
			};

			kb-row4 {
				nvidia,pins = "kb_row4_pr4";
				nvidia,function = "kbc";
				nvidia,pull = <TEGRA_PIN_PULL_NONE>;
				nvidia,tristate = <TEGRA_PIN_ENABLE>;
				nvidia,enable-input = <TEGRA_PIN_ENABLE>;
			};

			kb-row5 {
				nvidia,pins = "kb_row5_pr5";
				nvidia,function = "kbc";
				nvidia,pull = <TEGRA_PIN_PULL_UP>;
				nvidia,tristate = <TEGRA_PIN_ENABLE>;
				nvidia,enable-input = <TEGRA_PIN_ENABLE>;
			};

			kb-row6 {
				nvidia,pins = "kb_row6_pr6";
				nvidia,function = "kbc";
				nvidia,pull = <TEGRA_PIN_PULL_DOWN>;
				nvidia,tristate = <TEGRA_PIN_DISABLE>;
				nvidia,enable-input = <TEGRA_PIN_ENABLE>;
			};

			kb-r8-c3 {
				nvidia,pins = "kb_row8_ps0",
					      "kb_col3_pq3";
				nvidia,function = "kbc";
				nvidia,pull = <TEGRA_PIN_PULL_UP>;
				nvidia,tristate = <TEGRA_PIN_DISABLE>;
				nvidia,enable-input = <TEGRA_PIN_ENABLE>;
			};

			/* VI pinmux */
			cam-mclk {
				nvidia,pins = "cam_mclk_pcc0",
					      "pbb0";
				nvidia,function = "vi_alt3";
				nvidia,pull = <TEGRA_PIN_PULL_NONE>;
				nvidia,tristate = <TEGRA_PIN_DISABLE>;
				nvidia,enable-input = <TEGRA_PIN_DISABLE>;
			};

			/* AUD pinmux */
			gpio-x4-aud {
				nvidia,pins = "gpio_x4_aud_px4";
				nvidia,function = "rsvd1";
				nvidia,pull = <TEGRA_PIN_PULL_NONE>;
				nvidia,tristate = <TEGRA_PIN_DISABLE>;
				nvidia,enable-input = <TEGRA_PIN_DISABLE>;
			};

			gpio-x1-aud {
				nvidia,pins = "gpio_x1_aud_px1";
				nvidia,function = "rsvd2";
				nvidia,pull = <TEGRA_PIN_PULL_UP>;
				nvidia,tristate = <TEGRA_PIN_DISABLE>;
				nvidia,enable-input = <TEGRA_PIN_ENABLE>;
			};

			gpio-x3-aud {
				nvidia,pins = "gpio_x3_aud_px3";
				nvidia,function = "rsvd3";
				nvidia,pull = <TEGRA_PIN_PULL_UP>;
				nvidia,tristate = <TEGRA_PIN_DISABLE>;
				nvidia,enable-input = <TEGRA_PIN_ENABLE>;
			};

			gpio-x6-aud {
				nvidia,pins = "gpio_x6_aud_px6";
				nvidia,function = "rsvd4";
				nvidia,pull = <TEGRA_PIN_PULL_UP>;
				nvidia,tristate = <TEGRA_PIN_DISABLE>;
				nvidia,enable-input = <TEGRA_PIN_ENABLE>;
			};

			usb-vbus {
				nvidia,pins = "usb_vbus_en0_pn4",
					      "usb_vbus_en1_pn5";
				nvidia,function = "rsvd2";
				nvidia,pull = <TEGRA_PIN_PULL_DOWN>;
				nvidia,tristate = <TEGRA_PIN_ENABLE>;
				nvidia,enable-input = <TEGRA_PIN_DISABLE>;
			};

			/* GPIO power/drive control */
			drive-sdio1 {
				nvidia,pins = "drive_sdio1";
				nvidia,high-speed-mode = <TEGRA_PIN_ENABLE>;
				nvidia,schmitt = <TEGRA_PIN_DISABLE>;
				nvidia,pull-down-strength = <36>;
				nvidia,pull-up-strength = <20>;
				nvidia,slew-rate-rising = <TEGRA_PIN_SLEW_RATE_SLOW>;
				nvidia,slew-rate-falling = <TEGRA_PIN_SLEW_RATE_SLOW>;
			};

			drive-sdio3 {
				nvidia,pins = "drive_sdio3";
				nvidia,high-speed-mode = <TEGRA_PIN_ENABLE>;
				nvidia,schmitt = <TEGRA_PIN_DISABLE>;
				nvidia,pull-down-strength = <22>;
				nvidia,pull-up-strength = <36>;
				nvidia,slew-rate-rising = <TEGRA_PIN_SLEW_RATE_FASTEST>;
				nvidia,slew-rate-falling = <TEGRA_PIN_SLEW_RATE_FASTEST>;
			};

			drive-gma {
				nvidia,pins = "drive_gma";
				nvidia,high-speed-mode = <TEGRA_PIN_ENABLE>;
				nvidia,schmitt = <TEGRA_PIN_DISABLE>;
				nvidia,pull-down-strength = <2>;
				nvidia,pull-up-strength = <2>;
				nvidia,slew-rate-rising = <TEGRA_PIN_SLEW_RATE_FASTEST>;
				nvidia,slew-rate-falling = <TEGRA_PIN_SLEW_RATE_FASTEST>;
			};
		};
	};

	serial@70006040 {
		/* GPS */
	};

	serial@70006200 {
		compatible = "nvidia,tegra114-hsuart", "nvidia,tegra30-hsuart";
		reset-names = "serial";
		/delete-property/ reg-shift;
		status = "okay";

		nvidia,adjust-baud-rates = <0 9600 100>,
					   <9600 115200 200>,
					   <1000000 4000000 136>;

		bluetooth {
			compatible = "brcm,bcm4334-bt";
			max-speed = <4000000>;

			clocks = <&tegra_pmc TEGRA_PMC_CLK_BLINK>;
			clock-names = "txco";

			interrupt-parent = <&gpio>;
			interrupts = <TEGRA_GPIO(U, 6) IRQ_TYPE_EDGE_RISING>;
			interrupt-names = "host-wakeup";

			device-wakeup-gpios = <&gpio TEGRA_GPIO(EE, 1) GPIO_ACTIVE_HIGH>;
			shutdown-gpios = <&gpio TEGRA_GPIO(Q, 7) GPIO_ACTIVE_HIGH>;
			reset-gpios = <&gpio TEGRA_GPIO(Q, 6) GPIO_ACTIVE_LOW>;

			vbat-supply = <&vdd_3v3_com>;
			vddio-supply = <&vdd_1v8_vio>;
		};
	};

	serial@70006300 {
		/delete-property/ dmas;
		/delete-property/ dma-names;
		status = "okay";
	};

	pwm@7000a000 {
		status = "okay";
	};

	i2c@7000c000 {
		status = "okay";
		clock-frequency = <100000>;

		magnetometer@c {
			compatible = "asahi-kasei,ak09911";
			reg = <0xc>;

			/* no DRDY (polling) */

			vdd-supply = <&vdd_2v85_sen>;
			vid-supply = <&vdd_1v8_vio>;

			mount-matrix =  "0",  "1", "0",
					"1",  "0", "0",
					"0",  "0","-1";
		};

		rt5639: audio-codec@1c {
			compatible = "realtek,rt5639";
			reg = <0x1c>;

			realtek,ldo1-en-gpios =
				<&gpio TEGRA_GPIO(V, 3) GPIO_ACTIVE_HIGH>;

			clocks = <&tegra_pmc TEGRA_PMC_CLK_OUT_1>;
			clock-names = "mclk";
		};

		temp_sensor: temperature-sensor@4c {
			compatible = "onnn,nct1008";
			reg = <0x4c>;

			interrupt-parent = <&gpio>;
			interrupts = <TEGRA_GPIO(O, 4) IRQ_TYPE_EDGE_FALLING>;

			vcc-supply = <&vdd_1v8_vio>;
			#thermal-sensor-cells = <1>;
		};

		motion-tracker@68 {
			compatible = "invensense,mpu6500";
			reg = <0x68>;

			interrupt-parent = <&gpio>;
			interrupts = <TEGRA_GPIO(R, 3) IRQ_TYPE_LEVEL_HIGH>;

			vdd-supply = <&vdd_2v85_sen>;
			vddio-supply = <&vdd_1v8_vio>;

			mount-matrix =  "0", "-1", "0",
					"1",  "0", "0",
					"0",  "0", "1";
		};
	};

	i2c@7000c400 {
		status = "okay";
		clock-frequency = <100000>;

		power-sensor@44 {
			compatible = "ti,ina230";
			reg = <0x44>;

			shunt-resistor = <5000>;
		};
	};

	i2c@7000c500 {
		status = "okay";
		clock-frequency = <400000>;

		light-sensor@1c {
			compatible = "dynaimage,al3320a";
			reg = <0x1c>;

			vdd-supply = <&vdd_1v8_vio>;
		};
	};

	hdmi_ddc: i2c@7000c700 {
		status = "okay";
		clock-frequency = <10000>;
	};

	i2c@7000d000 {
		status = "okay";
		clock-frequency = <400000>;

		palmas: pmic@58 {
			compatible = "ti,tps65913", "ti,palmas";
			reg = <0x58>;
			interrupts = <GIC_SPI 86 IRQ_TYPE_LEVEL_HIGH>;

			#interrupt-cells = <2>;
			interrupt-controller;

			ti,system-power-controller;

			palmas_gpadc: adc {
				compatible = "ti,palmas-gpadc";
				interrupts = <18 IRQ_TYPE_NONE>,
					     <16 IRQ_TYPE_NONE>,
					     <17 IRQ_TYPE_NONE>;

				ti,channel0-current-microamp = <5>;
				ti,channel3-current-microamp = <400>;
				ti,enable-extended-delay;

				#io-channel-cells = <1>;
			};

			palmas_extcon: extcon {
				compatible = "ti,palmas-usb-vid";
				ti,enable-vbus-detection;
				ti,enable-id-detection;
			};

			palmas_gpio: gpio {
				compatible = "ti,palmas-gpio";
				gpio-controller;
				#gpio-cells = <2>;
			};

			palmas_clk32kg@0 {
				compatible = "ti,palmas-clk32kg";
				#clock-cells = <0>;
			};

			pinmux {
				compatible = "ti,tps65913-pinctrl";
				ti,palmas-enable-dvfs1;

				pinctrl-names = "default";
				pinctrl-0 = <&palmas_default>;

				palmas_default: pinmux {
					pin_gpio0 {
						pins = "gpio0";
						function = "gpio";
					};

					pin_gpio1 {
						pins = "gpio1";
						function = "gpio";
					};

					pin_gpio2 {
						pins = "gpio2";
						function = "gpio";
					};

					pin_gpio3 {
						pins = "gpio3";
						function = "gpio";
					};

					pin_gpio4 {
						pins = "gpio4";
						function = "gpio";
					};

					pin_gpio5 {
						pins = "gpio5";
						function = "gpio";
					};

					pin_gpio6 {
						pins = "gpio6";
						function = "gpio";
					};

					pin_gpio7 {
						pins = "gpio7";
						function = "gpio";
					};

					pin_powergood {
						pins = "powergood";
						function = "powergood";
					};

					pin_vac {
						pins = "vac";
						function = "vac";
					};
				};
			};

			pmic {
				compatible = "ti,tps65913-pmic", "ti,palmas-pmic";

				ldo1-in-supply = <&vddio_ddr>;
				ldo2-in-supply = <&vddio_ddr>;
				ldo4-in-supply = <&vdd_1v8_vio>;
				ldo5-in-supply = <&vcore_emmc>;
				ldo6-in-supply = <&vcore_emmc>;
				ldo7-in-supply = <&vcore_emmc>;
				ldo9-in-supply = <&vcore_emmc>;
				ldoln-in-supply = <&vdd_smps10_out2>;

				regulators {
					vdd_cpu: smps123 {
						regulator-name = "vdd_cpu";
						regulator-min-microvolt = <900000>;
						regulator-max-microvolt = <1350000>;
						regulator-always-on;
						regulator-boot-on;
						ti,roof-floor = <1>;
						ti,mode-sleep = <3>;
					};

					vdd_core: smps45 {
						regulator-name = "vdd_core";
						regulator-min-microvolt = <900000>;
						regulator-max-microvolt = <1400000>;
						regulator-always-on;
						regulator-boot-on;
						ti,roof-floor = <3>;
					};

					/* smps6 disabled */

					vddio_ddr: smps7 {
						regulator-name = "vddio_ddr";
						regulator-min-microvolt = <1350000>;
						regulator-max-microvolt = <1350000>;
						regulator-always-on;
						regulator-boot-on;
					};

					vdd_1v8_vio: smps8 {
						regulator-name = "vdd_1v8";
						regulator-min-microvolt = <1800000>;
						regulator-max-microvolt = <1800000>;
						regulator-always-on;
						regulator-boot-on;
					};

					vcore_emmc: smps9 {
						regulator-name = "vdd_emmc";
						regulator-min-microvolt = <2900000>;
						regulator-max-microvolt = <2900000>;
						regulator-boot-on;
					};

					smps10_out1 {
						regulator-name = "vd_smps10_out1";
						regulator-min-microvolt = <5000000>;
						regulator-max-microvolt = <5000000>;
						regulator-always-on;
						regulator-boot-on;
					};

					vdd_smps10_out2: smps10_out2 {
						regulator-name = "vd_smps10_out2";
						regulator-min-microvolt = <5000000>;
						regulator-max-microvolt = <5000000>;
						regulator-always-on;
						regulator-boot-on;
					};

					avdd_hdmi_pll: ldo1 {
						regulator-name = "avdd_hdmi_pll";
						regulator-min-microvolt = <1050000>;
						regulator-max-microvolt = <1050000>;
						regulator-always-on;
						regulator-boot-on;
						ti,roof-floor = <3>;
					};

					avdd_dsi_csi: ldo2 {
						regulator-name = "avdd_dsi_csi";
						regulator-min-microvolt = <1200000>;
						regulator-max-microvolt = <1200000>;
						regulator-boot-on;
					};

					ldo3 {
						regulator-name = "vpp_fuse";
						regulator-min-microvolt = <1800000>;
						regulator-max-microvolt = <1800000>;
					};

					vdd_1v2_cam: ldo4 {
						regulator-name = "vdd_1v2_cam";
						regulator-min-microvolt = <1200000>;
						regulator-max-microvolt = <1200000>;
					};

					avdd_2v8_cam: ldo5 {
						regulator-name = "avdd_cam2";
						regulator-min-microvolt = <2800000>;
						regulator-max-microvolt = <2800000>;
					};

					vdd_2v85_sen: ldo6 {
						regulator-name = "vdd_dev";
						regulator-min-microvolt = <2850000>;
						regulator-max-microvolt = <2850000>;
					};

					avdd_2v8_af: ldo7 {
						regulator-name = "avdd_2v8_cam";
						regulator-min-microvolt = <2800000>;
						regulator-max-microvolt = <2800000>;
					};

					ldo8 {
						regulator-name = "vdd_rtc";
						regulator-min-microvolt = <950000>;
						regulator-max-microvolt = <950000>;
						regulator-always-on;
						regulator-boot-on;
						ti,enable-ldo8-tracking;
					};

					vddio_usd: ldo9 {
						regulator-name = "vddio_usd";
						/* min voltage of 1.8v is not stable */
						regulator-min-microvolt = <2900000>;
						regulator-max-microvolt = <2900000>;
					};

					avdd_hdmi: ldoln {
						regulator-name = "avdd_hdmi";
						regulator-min-microvolt = <3300000>;
						regulator-max-microvolt = <3300000>;
						regulator-boot-on;
					};

					avdd_usb: ldousb {
						regulator-name = "avdd_usb";
						regulator-min-microvolt = <3300000>;
						regulator-max-microvolt = <3300000>;
						regulator-boot-on;
					};
				};
			};

			rtc {
				compatible = "ti,palmas-rtc";
				interrupt-parent = <&palmas>;
				interrupts = <8 IRQ_TYPE_NONE>;
			};
		};
	};

	pmc@7000e400 {
		status = "okay";
		nvidia,suspend-mode = <2>;
		nvidia,cpu-pwr-good-time = <300>;
		nvidia,cpu-pwr-off-time = <300>;
		nvidia,core-pwr-good-time = <641 3845>;
		nvidia,core-pwr-off-time = <2000>;
		nvidia,core-power-req-active-high;
		nvidia,sys-clock-req-active-high;

		/* Clear DEV_ON bit in DEV_CTRL register of TPS65913 PMIC  */
		i2c-thermtrip {
			nvidia,i2c-controller-id = <4>;
			nvidia,bus-addr = <0x58>;
			nvidia,reg-addr = <0xA0>;
			nvidia,reg-data = <0x00>;
		};
	};

	ahub@70080000 {
		/* HIFI CODEC (i2s1) */
		i2s@70080400 {
			status = "okay";
		};

		/* BT SCO (i2s3) */
		i2s@70080600 {
			status = "okay";
		};
	};

	brcm_wifi_pwrseq: pwrseq-wifi {
		compatible = "mmc-pwrseq-simple";

		clocks = <&tegra_pmc TEGRA_PMC_CLK_BLINK>;
		clock-names = "ext_clock";

		reset-gpios = <&gpio TEGRA_GPIO(X, 7) GPIO_ACTIVE_LOW>;
		post-power-on-delay-ms = <300>;
		power-off-delay-us = <300>;
	};

	/* WiFi */
	mmc@78000000 {
		status = "okay";

		#address-cells = <1>;
		#size-cells = <0>;

		assigned-clocks = <&tegra_car TEGRA114_CLK_SDMMC1>;
		assigned-clock-parents = <&tegra_car TEGRA114_CLK_PLL_P>;
		assigned-clock-rates = <82000000>;

		max-frequency = <82000000>;
		keep-power-in-suspend;
		bus-width = <4>;
		non-removable;

		sd-uhs-ddr50;
		mmc-ddr-1_8v;

		power-gpios = <&gpio TEGRA_GPIO(CC, 5) GPIO_ACTIVE_HIGH>;

		nvidia,default-tap = <0x2>;
		nvidia,default-trim = <0x2>;

		mmc-pwrseq = <&brcm_wifi_pwrseq>;
		vmmc-supply = <&vdd_3v3_com>;
		vqmmc-supply = <&vdd_1v8_vio>;

		wifi@1 {
			compatible = "brcm,bcm4329-fmac";
			reg = <1>;

			interrupt-parent = <&gpio>;
			interrupts = <TEGRA_GPIO(U, 5) IRQ_TYPE_LEVEL_HIGH>;
			interrupt-names = "host-wake";
		};
	};

	/* MicroSD card */
	mmc@78000400 {
		status = "okay";

		bus-width = <4>;
		cd-gpios = <&gpio TEGRA_GPIO(V, 2) GPIO_ACTIVE_LOW>;

		nvidia,default-tap = <0x3>;
		nvidia,default-trim = <0x3>;

		vmmc-supply = <&vdd_2v9_usd>;
		vqmmc-supply = <&vddio_usd>;
	};

	/* eMMC */
	mmc@78000600 {
		status = "okay";
		bus-width = <8>;

		non-removable;
		mmc-ddr-1_8v;

		vmmc-supply = <&vcore_emmc>;
		vqmmc-supply = <&vdd_1v8_vio>;
	};

	/* Peripheral USB via ASUS connector */
	usb@7d000000 {
		compatible = "nvidia,tegra114-udc";
		status = "okay";
		dr_mode = "peripheral";
	};

	usb-phy@7d000000 {
		status = "okay";
		dr_mode = "peripheral";
		vbus-supply = <&avdd_usb>;
	};

	/* Host USB via dock */
	usb@7d008000 {
		status = "okay";
	};

	usb-phy@7d008000 {
		status = "okay";
		vbus-supply = <&vdd_5v0_sys>;
	};

	backlight: backlight {
		compatible = "pwm-backlight";

		power-supply = <&vdd_3v7_bl>;
		pwms = <&pwm 1 1000000>;

		brightness-levels = <1 255>;
		num-interpolated-steps = <254>;
		default-brightness-level = <224>;
	};

	/* PMIC has a built-in 32KHz oscillator which is used by PMC */
	clk32k_in: clock-32k {
		compatible = "fixed-clock";
		#clock-cells = <0>;
		clock-frequency = <32768>;
		clock-output-names = "pmic-oscillator";
	};

	connector {
		compatible = "hdmi-connector";
		type = "d";

		hpd-gpios = <&gpio TEGRA_GPIO(N, 7) GPIO_ACTIVE_HIGH>;
		ddc-i2c-bus = <&hdmi_ddc>;

		port {
			connector_in: endpoint {
				remote-endpoint = <&hdmi_out>;
			};
		};
	};

	extcon-keys {
		compatible = "gpio-keys";

		switch-hall-sensor {
			label = "Hall Effect Sensor";
			gpios = <&gpio TEGRA_GPIO(O, 5) GPIO_ACTIVE_LOW>;
			linux,input-type = <EV_SW>;
			linux,code = <SW_LID>;
			linux,can-disable;
			wakeup-source;
		};

		switch-lineout-detect {
			label = "Audio dock line-out detect";
			gpios = <&gpio TEGRA_GPIO(X, 5) GPIO_ACTIVE_LOW>;
			linux,input-type = <EV_SW>;
			linux,code = <SW_LINEOUT_INSERT>;
			debounce-interval = <10>;
		};
	};

	gpio-keys {
		compatible = "gpio-keys";

		key-power {
			label = "Power";
			gpios = <&gpio TEGRA_GPIO(Q, 0) GPIO_ACTIVE_LOW>;
			linux,code = <KEY_POWER>;
			debounce-interval = <10>;
			wakeup-source;
		};

		key-volume-down {
			label = "Volume Down";
			gpios = <&gpio TEGRA_GPIO(R, 1) GPIO_ACTIVE_LOW>;
			linux,code = <KEY_VOLUMEDOWN>;
			debounce-interval = <10>;
		};

		key-volume-up {
			label = "Volume Up";
			gpios = <&gpio TEGRA_GPIO(R, 2) GPIO_ACTIVE_LOW>;
			linux,code = <KEY_VOLUMEUP>;
			debounce-interval = <10>;
		};
	};

	sound {
		compatible = "asus,tegra-audio-rt5639-tf701t",
			     "nvidia,tegra-audio-rt5640";
		nvidia,model = "Asus Transformer Pad TF701T RT5639";

		nvidia,audio-routing =
			"Headphones", "HPOR",
			"Headphones", "HPOL",
			"Speakers", "SPORP",
			"Speakers", "SPORN",
			"Speakers", "SPOLP",
			"Speakers", "SPOLN",
			"IN1P", "Mic Jack",
			"IN1N", "Mic Jack",
			"DMIC1", "Int Mic",
			"DMIC2", "Int Mic";

		nvidia,i2s-controller = <&tegra_i2s1>;
		nvidia,audio-codec = <&rt5639>;

		nvidia,hp-det-gpios = <&gpio TEGRA_GPIO(R, 7) GPIO_ACTIVE_LOW>;
		nvidia,int-mic-en-gpios = <&gpio TEGRA_GPIO(K, 3) GPIO_ACTIVE_HIGH>;

		clocks = <&tegra_car TEGRA114_CLK_PLL_A>,
			 <&tegra_car TEGRA114_CLK_PLL_A_OUT0>,
			 <&tegra_pmc TEGRA_PMC_CLK_OUT_1>;
		clock-names = "pll_a", "pll_a_out0", "mclk";

		assigned-clocks = <&tegra_car TEGRA114_CLK_EXTERN1>,
				  <&tegra_pmc TEGRA_PMC_CLK_OUT_1>;

		assigned-clock-parents = <&tegra_car TEGRA114_CLK_PLL_A_OUT0>,
					 <&tegra_car TEGRA114_CLK_EXTERN1>;
	};

	vdd_5v0_sys: regulator-5v0-sys {
		compatible = "regulator-fixed";
		regulator-name = "vdd_5v0_sys";
		regulator-min-microvolt = <5000000>;
		regulator-max-microvolt = <5000000>;
		regulator-always-on;
		regulator-boot-on;
	};

	vdd_3v3_sys: regulator-3v3-sys {
		compatible = "regulator-fixed";
		regulator-name = "vdd_3v3_sys";
		regulator-min-microvolt = <3300000>;
		regulator-max-microvolt = <3300000>;
		regulator-always-on;
		regulator-boot-on;
	};

	dvdd_1v8_lcd: regulator-vdd-lcd {
		compatible = "regulator-fixed";
		regulator-name = "dvdd_1v8_lcd";
		regulator-min-microvolt = <1800000>;
		regulator-max-microvolt = <1800000>;
		regulator-boot-on;
		gpio = <&palmas_gpio 4 GPIO_ACTIVE_HIGH>;
		enable-active-high;
		vin-supply = <&vdd_1v8_vio>;
	};

	vdd_3v7_bl: regulator-bl-en {
		compatible = "regulator-fixed";
		regulator-name = "vdd_3v7_bl";
		regulator-min-microvolt = <3700000>;
		regulator-max-microvolt = <3700000>;
		regulator-boot-on;
		gpio = <&gpio TEGRA_GPIO(H, 2) GPIO_ACTIVE_HIGH>;
		enable-active-high;
		vin-supply = <&vdd_5v0_sys>;
	};

	hdmi_5v0_sys: regulator-hdmi {
		compatible = "regulator-fixed";
		regulator-name = "vdd_5v0_hdmi";
		regulator-min-microvolt = <5000000>;
		regulator-max-microvolt = <5000000>;
		regulator-boot-on;
		gpio = <&gpio TEGRA_GPIO(P, 2) GPIO_ACTIVE_HIGH>;
		enable-active-high;
		vin-supply = <&vdd_smps10_out2>;
	};

	vdd_2v9_usd: regulator-vdd-usd {
		compatible = "regulator-fixed";
		regulator-name = "vdd_sd_slot";
		regulator-min-microvolt = <2900000>;
		regulator-max-microvolt = <2900000>;
		regulator-boot-on;
		gpio = <&gpio TEGRA_GPIO(K, 1) GPIO_ACTIVE_HIGH>;
		enable-active-high;
		vin-supply = <&vcore_emmc>;
	};

	vdd_1v8_cam: regulator-cam-vio {
		compatible = "regulator-fixed";
		regulator-name = "vdd_1v8_cam";
		regulator-min-microvolt = <1800000>;
		regulator-max-microvolt = <1800000>;
		regulator-boot-on;
		gpio = <&palmas_gpio 6 GPIO_ACTIVE_HIGH>;
		enable-active-high;
		vin-supply = <&vdd_1v8_vio>;
	};

	vdd_1v2_xusb: regulator-xusb-vio {
		compatible = "regulator-fixed";
		regulator-name = "avddio_1v2_xusb";
		regulator-min-microvolt = <1200000>;
		regulator-max-microvolt = <1200000>;
		regulator-boot-on;
		gpio = <&palmas_gpio 3 GPIO_ACTIVE_HIGH>;
		enable-active-high;
	};

	vdd_3v3_xusb: regulator-xusb-vdd {
		compatible = "regulator-fixed";
		regulator-name = "hvdd_3v3_xusb";
		regulator-min-microvolt = <3300000>;
		regulator-max-microvolt = <3300000>;
		regulator-boot-on;
		gpio = <&palmas_gpio 1 GPIO_ACTIVE_HIGH>;
		enable-active-high;
	};

	vdd_3v3_com: regulator-com {
		compatible = "regulator-fixed";
		regulator-name = "vdd_3v3_com";
		regulator-min-microvolt = <3300000>;
		regulator-max-microvolt = <3300000>;
		regulator-always-on;
		regulator-boot-on;
		gpio = <&gpio TEGRA_GPIO(U, 1) GPIO_ACTIVE_HIGH>;
		enable-active-high;
		vin-supply = <&vdd_3v3_sys>;
	};

	vdd_3v3_touch: regulator-touch-pwr {
		compatible = "regulator-fixed";
		regulator-name = "vdd_3v3_touch";
		regulator-min-microvolt = <3300000>;
		regulator-max-microvolt = <3300000>;
		regulator-boot-on;
		gpio = <&gpio TEGRA_GPIO(H, 0) GPIO_ACTIVE_HIGH>;
		enable-active-high;
		vin-supply = <&vdd_3v3_sys>;
	};

	vdd_1v8_touch: regulator-touch-vio {
		compatible = "regulator-fixed";
		regulator-name = "vdd_1v8_touch";
		regulator-min-microvolt = <1800000>;
		regulator-max-microvolt = <1800000>;
		regulator-boot-on;
		gpio = <&gpio TEGRA_GPIO(H, 4) GPIO_ACTIVE_HIGH>;
		enable-active-high;
		vin-supply = <&vdd_3v3_sys>;
	};
};
